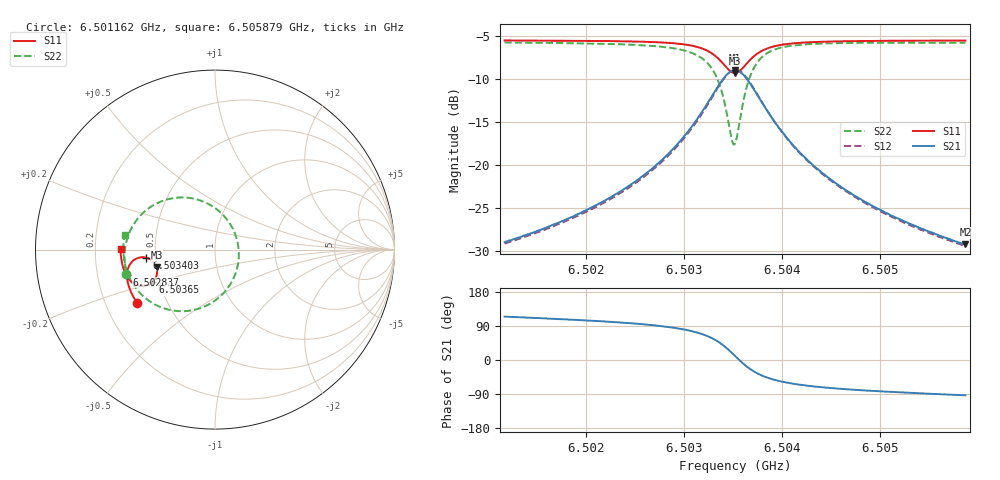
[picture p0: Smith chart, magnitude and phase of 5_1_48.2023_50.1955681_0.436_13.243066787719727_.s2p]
#  HZ  S  RI  R  50.00
! Rohde & Schwarz Vector Network Analyzer
! Rohde-Schwarz,ZNB20-2Port,1311601062101988,3.16
! Created: UTC 3/20/2024, 11:36:11 AM
! freq[Hz]  re:S11  im:S11  re:S21  im:S21  re:S12  im:S12  re:S22  im:S22
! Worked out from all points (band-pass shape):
!   401 points, 6.501162 GHz to 6.505879 GHz, reference 50 ohm
!   highest |S21| = -9.02 dB at 6.50352 GHz (marker M1); lowest = -29.2 dB at 6.505879 GHz (marker M2)
!   |S21| within 3 dB of the highest: 6.503285 GHz to 6.503756 GHz (471.5 kHz wide, 0.00725 % of centre)
!   lowest |S11| = -9.4 dB at 6.50352 GHz (marker M3), VSWR 2.03, Z = 25 - j5.63 ohm
!   |S11| at or under -10 dB: nowhere
!   |S22| runs from -17.6 to -5.8 dB; largest |S21 - S12| = 0.012
!   S11 on the Smith chart (normalised r, x): 6.501162 GHz: 0.34, -0.27; 6.502837 GHz: 0.33, -0.12; 6.503403 GHz: 0.45, -0.05; 6.50365 GHz: 0.46, -0.20; 6.505879 GHz: 0.31, +0.00
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6.5011623e9  -0.4361 -0.295  -0.0148 0.0326  -0.0129 0.0326  -0.4951 -0.1334
6.5019523e9  -0.4686 -0.2347  -0.0139 0.0514  -0.0113 0.0509  -0.5046 -0.0456
6.5024122e9  -0.4837 -0.1919  -0.0101 0.0736  -0.00684 0.0722  -0.4981 0.0247
6.5027423e9  -0.4905 -0.1531  -0.000428 0.1031  0.00342 0.1007  -0.4763 0.0969
6.5028366e9  -0.4907 -0.1395  0.00568 0.1158  0.00944 0.1127  -0.463 0.1237
6.5030371e9  -0.4848 -0.1049  0.0307 0.1527  0.0345 0.1477  -0.4108 0.1946
6.5031786e9  -0.4683 -0.0742  0.0726 0.1879  0.0754 0.1817  -0.3299 0.2548
6.5033083e9  -0.4305 -0.0471  0.1534 0.2142  0.1538 0.2077  -0.183 0.2905
6.5034026e9  -0.3818 -0.0451  0.2486 0.1962  0.2489 0.1914  -0.0179 0.2437
6.5034851e9  -0.3369 -0.0762  0.3299 0.1174  0.3327 0.1131  0.1116 0.0881
6.5035205e9  -0.3258 -0.0995  0.3478 0.0662  0.3518 0.0605  0.1324 -0.00834
6.5035441e9  -0.3227 -0.1168  0.3513 0.0301  0.3556 0.0229  0.1292 -0.0748
6.5035794e9  -0.3252 -0.1421  0.343 -0.0223  0.3469 -0.0317  0.0996 -0.1678
6.5036502e9  -0.3486 -0.181  0.2935 -0.1016  0.2935 -0.114  -0.0174 -0.296
6.5037445e9  -0.3912 -0.2016  0.2114 -0.1461  0.2062 -0.1569  -0.1847 -0.3433
6.5038153e9  -0.4182 -0.2016  0.1617 -0.151  0.1547 -0.1594  -0.2775 -0.3294
6.5038978e9  -0.4423 -0.1944  0.1196 -0.1447  0.112 -0.1505  -0.3514 -0.2962
6.5040747e9  -0.4738 -0.1716  0.0674 -0.1209  0.0607 -0.1233  -0.4357 -0.2217
6.5043105e9  -0.4952 -0.1417  0.0358 -0.0944  0.0305 -0.095  -0.4809 -0.1459
6.5046642e9  -0.511 -0.1034  0.0158 -0.0693  0.0121 -0.0689  -0.5041 -0.0691
6.5051005e9  -0.5205 -0.0619  0.00551 -0.0513  0.00301 -0.0507  -0.5107 -0.00308
6.5058786e9  -0.5261 0.00508  -0.0019 -0.0346  -0.00333 -0.0337  -0.5038 0.0829
